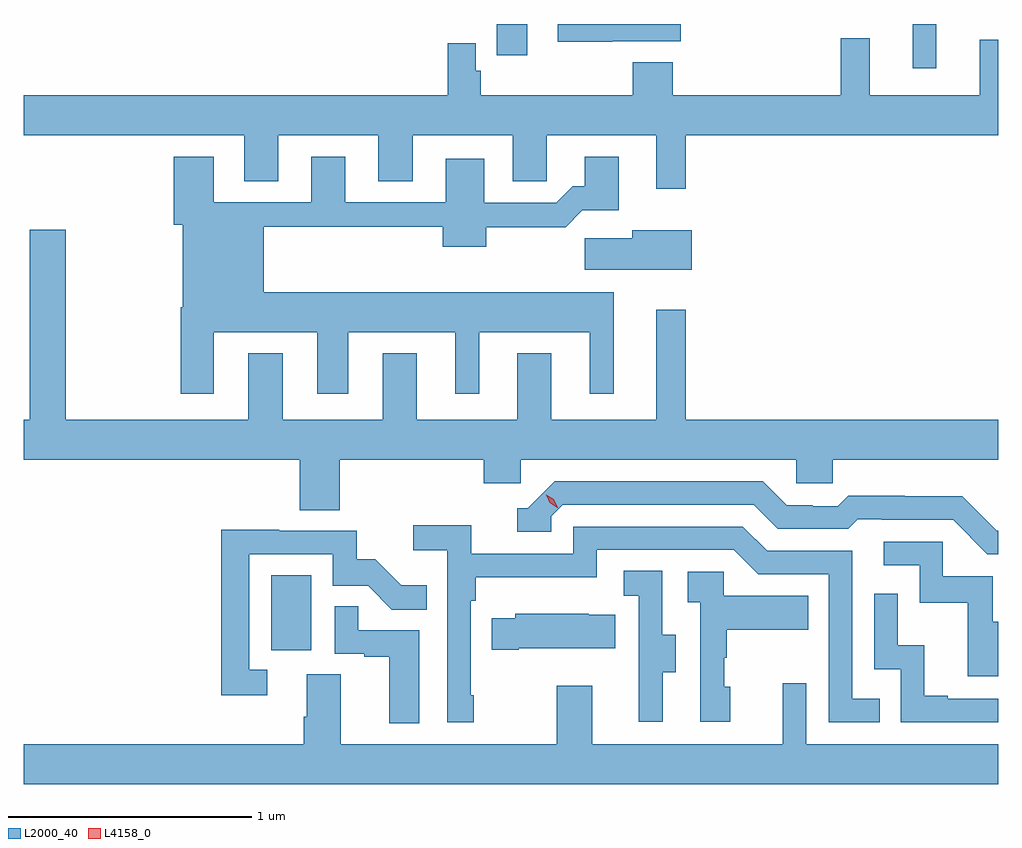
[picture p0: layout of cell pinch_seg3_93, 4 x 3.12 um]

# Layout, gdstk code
import gdstk
lib = gdstk.Library(unit=1e-6, precision=1e-09)
def R(c, l, rs):  # rectangles x0, y0, x1, y1
    for r in rs: c.add(gdstk.rectangle(r[:2], r[2:], *l))
def P(c, l, *ps):  # polygons
    for p in ps: c.add(gdstk.Polygon(p, *l))
L2000_40 = (2000, 40)
L4158_0 = (4158, 0)

pinch_seg3_93 = lib.new_cell('pinch_seg3_93')
R(pinch_seg3_93, L2000_40, [(1073.078,721.446,1073.242,721.753), (1075.712,723.834,1075.809,724.016), (1074.004,723.888,1074.13,724.016)])
P(pinch_seg3_93, L2000_40, [(1074.479,723.945),(1074.759,723.945),(1074.759,724.016),(1074.255,724.016),(1074.255,723.943),(1074.479,723.943)],
  [(1074.781,723.56),(1076.063,723.56),(1076.063,723.952),(1075.988,723.952),(1075.988,723.724),(1075.535,723.724),(1075.535,723.958),(1075.417,723.958),(1075.417,723.724),(1074.728,723.724),(1074.728,723.86),(1074.563,723.86),(1074.563,723.724),(1073.939,723.724),(1073.939,723.825),(1073.919,723.825),(1073.919,723.937),(1073.803,723.937),(1073.803,723.724),(1072.063,723.724),(1072.063,723.56),(1072.967,723.56),(1072.967,723.37),(1073.107,723.37),(1073.107,723.56),(1073.519,723.56),(1073.519,723.37),(1073.659,723.37),(1073.659,723.56),(1074.071,723.56),(1074.071,723.37),(1074.21,723.37),(1074.21,723.56),(1074.659,723.56),(1074.659,723.339),(1074.781,723.339)],
  [(1072.843,722.75),(1073.267,722.75),(1073.267,722.499),(1073.395,722.499),(1073.395,722.75),(1073.834,722.75),(1073.834,722.499),(1073.932,722.499),(1073.932,722.75),(1074.386,722.75),(1074.386,722.499),(1074.484,722.499),(1074.484,722.914),(1073.047,722.914),(1073.047,723.184),(1073.783,723.184),(1073.783,723.101),(1073.961,723.101),(1073.961,723.182),(1074.287,723.182),(1074.356,723.251),(1074.505,723.251),(1074.505,723.472),(1074.365,723.472),(1074.365,723.349),(1074.316,723.349),(1074.249,723.282),(1073.953,723.282),(1073.953,723.463),(1073.795,723.463),(1073.795,723.285),(1073.383,723.285),(1073.383,723.472),(1073.243,723.472),(1073.243,723.285),(1072.843,723.285),(1072.843,723.472),(1072.679,723.472),(1072.679,723.192),(1072.715,723.192),(1072.715,722.854),(1072.708,722.854),(1072.708,722.499),(1072.843,722.499)],
  [(1073.36,722.228),(1073.951,722.228),(1073.951,722.13),(1074.102,722.13),(1074.102,722.228),(1075.233,722.228),(1075.233,722.13),(1075.383,722.13),(1075.383,722.228),(1076.063,722.228),(1076.063,722.392),(1074.781,722.392),(1074.781,722.842),(1074.659,722.842),(1074.659,722.392),(1074.229,722.392),(1074.229,722.665),(1074.089,722.665),(1074.089,722.392),(1073.677,722.392),(1073.677,722.665),(1073.537,722.665),(1073.537,722.392),(1073.125,722.392),(1073.125,722.665),(1072.985,722.665),(1072.985,722.392),(1072.236,722.392),(1072.236,723.171),(1072.088,723.171),(1072.088,722.392),(1072.063,722.392),(1072.063,722.228),(1073.195,722.228),(1073.195,722.02),(1073.36,722.02)],
  [(1074.805,723.169),(1074.56,723.169),(1074.56,723.137),(1074.366,723.137),(1074.366,723.008),(1074.805,723.008)],
  [(1076.063,721.935),(1076.058,721.935),(1075.916,722.077),(1075.68,722.077),(1075.68,722.08),(1075.447,722.08),(1075.405,722.037),(1075.302,722.037),(1075.302,722.04),(1075.195,722.04),(1075.096,722.139),(1074.243,722.139),(1074.132,722.028),(1074.089,722.028),(1074.089,721.932),(1074.228,721.932),(1074.228,721.995),(1074.276,722.043),(1075.059,722.043),(1075.158,721.944),(1075.447,721.944),(1075.486,721.983),(1075.585,721.983),(1075.585,721.98),(1075.878,721.98),(1076.019,721.839),(1076.063,721.839)],
  [(1073.911,721.261),(1073.898,721.261),(1073.898,721.649),(1073.918,721.649),(1073.918,721.745),(1074.414,721.745),(1074.414,721.857),(1074.978,721.857),(1075.077,721.758),(1075.368,721.758),(1075.368,721.149),(1075.577,721.149),(1075.577,721.245),(1075.464,721.245),(1075.464,721.854),(1075.114,721.854),(1075.015,721.953),(1074.318,721.953),(1074.318,721.842),(1073.9,721.842),(1073.9,721.958),(1073.661,721.958),(1073.661,721.856),(1073.802,721.856),(1073.802,721.149),(1073.911,721.149)],
  [(1073.062,721.365),(1072.989,721.365),(1072.989,721.839),(1073.331,721.839),(1073.331,721.71),(1073.476,721.71),(1073.574,721.612),(1073.717,721.612),(1073.717,721.711),(1073.613,721.711),(1073.506,721.818),(1073.43,721.818),(1073.43,721.935),(1073.111,721.935),(1073.111,721.94),(1072.873,721.94),(1072.873,721.26),(1073.062,721.26)],
  [(1076.063,721.563),(1076.041,721.563),(1076.041,721.749),(1075.836,721.749),(1075.836,721.89),(1075.593,721.89),(1075.593,721.794),(1075.74,721.794),(1075.74,721.641),(1075.939,721.641),(1075.939,721.338),(1076.063,721.338)],
  [(1074.685,721.354),(1074.739,721.354),(1074.739,721.509),(1074.684,721.509),(1074.684,721.772),(1074.525,721.772),(1074.525,721.669),(1074.588,721.669),(1074.588,721.365),(1074.587,721.365),(1074.587,721.152),(1074.685,721.152)],
  [(1074.964,721.296),(1074.939,721.296),(1074.939,721.415),(1074.949,721.415),(1074.949,721.529),(1075.283,721.529),(1075.283,721.669),(1074.936,721.669),(1074.936,721.767),(1074.789,721.767),(1074.789,721.643),(1074.84,721.643),(1074.84,721.152),(1074.964,721.152)],
  [(1076.063,721.245),(1075.855,721.245),(1075.855,721.258),(1075.76,721.258),(1075.76,721.466),(1075.65,721.466),(1075.65,721.678),(1075.554,721.678),(1075.554,721.368),(1075.662,721.368),(1075.662,721.149),(1076.063,721.149)],
  [(1073.686,721.527),(1073.435,721.527),(1073.435,721.625),(1073.34,721.625),(1073.34,721.431),(1073.461,721.431),(1073.461,721.419),(1073.564,721.419),(1073.564,721.145),(1073.686,721.145)],
  [(1074.094,721.454),(1074.491,721.454),(1074.491,721.591),(1074.383,721.591),(1074.383,721.594),(1074.081,721.594),(1074.081,721.576),(1073.983,721.576),(1073.983,721.447),(1074.094,721.447)],
  [(1074.25,721.3),(1074.25,721.06),(1073.365,721.06),(1073.365,721.346),(1073.225,721.346),(1073.225,721.172),(1073.213,721.172),(1073.213,721.06),(1072.063,721.06),(1072.063,720.896),(1076.063,720.896),(1076.063,721.06),(1075.275,721.06),(1075.275,721.309),(1075.178,721.309),(1075.178,721.06),(1074.397,721.06),(1074.397,721.3)])
P(pinch_seg3_93, L4158_0, [(1074.253,722.031),(1074.223,722.05),(1074.207,722.083),(1074.207,722.083),(1074.208,722.083),(1074.238,722.064),(1074.254,722.031),(1074.254,722.031)])

lib.write_gds('pinch_seg3_93.gds')
